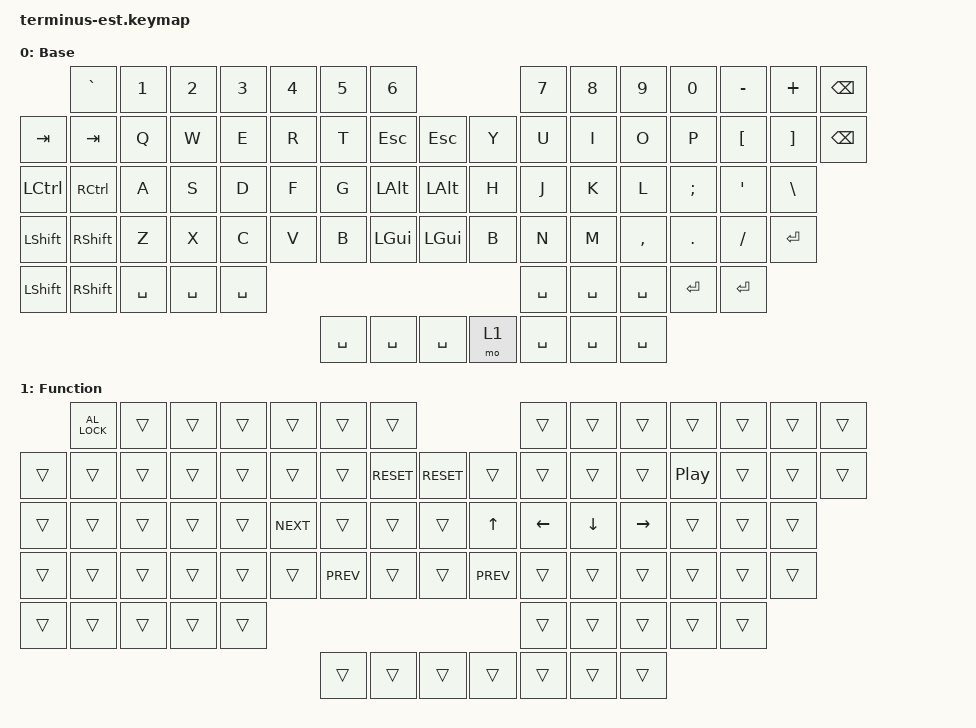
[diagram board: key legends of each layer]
#include <behaviors.dtsi>
#include <dt-bindings/zmk/keys.h>

/ {
    keymap {
        compatible = "zmk,keymap";

        default_layer {
            display-name = "Base";
            bindings = <
            //  COL0      COL1      COL2      COL3      COL4      COL5      COL6      COL7      COL8      COL9      COL10     COL11     COL12     COL13     COL14     COL15     COL16     COL17     COL18     COL19     COL20     COL21     // ROW
                          &kp GRAVE &kp N1    &kp N2    &kp N3    &kp N4    &kp N5    &kp N6                                                                          &kp N7    &kp N8    &kp N9    &kp N0    &kp MINUS &kp PLUS  &kp BSPC  // ROW0
                &kp TAB   &kp TAB   &kp Q     &kp W     &kp E     &kp R     &kp T                         &kp ESC                       &kp ESC             &kp Y     &kp U     &kp I     &kp O     &kp P     &kp LBKT  &kp RBKT  &kp BSPC  // ROW1
                &kp LCTL  &kp RCTL  &kp A     &kp S     &kp D     &kp F     &kp G                         &kp LALT                      &kp LALT            &kp H     &kp J     &kp K     &kp L     &kp SEMI  &kp SQT   &kp BSLH            // ROW2
                &kp LSHFT &kp RSHFT &kp Z     &kp X     &kp C     &kp V     &kp B                         &kp LGUI                      &kp LGUI            &kp B     &kp N     &kp M     &kp COMMA &kp DOT   &kp FSLH  &kp RET             // ROW3
                &kp LSHFT &kp RSHFT                               &kp SPACE &kp SPACE &kp SPACE                                                   &kp SPACE &kp SPACE &kp SPACE                     &kp RET   &kp RET                       // ROW4
                                                                            &kp SPACE &kp SPACE &kp SPACE &mo 1                                   &kp SPACE &kp SPACE &kp SPACE                                                           // ROW5
            >;
        };

        fn_layer {
            display-name = "Function";
            bindings = <
            //  COL0      COL1      COL2      COL3      COL4      COL5      COL6      COL7      COL8      COL9      COL10     COL11     COL12     COL13     COL14     COL15     COL16     COL17     COL18     COL19     COL20     COL21     // ROW
                   &kp C_AL_LOCK    &trans    &trans    &trans    &trans    &trans    &trans                                                                &trans    &trans    &trans    &trans    &trans    &trans    &trans              // ROW0
                &trans    &trans    &trans    &trans    &trans    &trans    &trans                      &kp C_RESET                   &kp C_RESET           &trans    &trans    &trans    &trans    &kp C_PP  &trans    &trans    &trans    // ROW1
                &trans    &trans    &trans    &trans    &trans   &kp C_NEXT &trans                        &trans                        &trans              &kp UP    &kp LEFT  &kp DOWN  &kp RIGHT &trans    &trans    &trans              // ROW2
                &trans    &trans    &trans    &trans    &trans    &trans   &kp C_PREV                     &trans                        &trans             &kp C_PREV &trans    &trans    &trans    &trans    &trans    &trans              // ROW3
                &trans    &trans                                  &trans    &trans    &trans                                                      &trans    &trans    &trans                                  &trans    &trans              // ROW4
                                                                            &trans    &trans    &trans    &trans                                  &trans    &trans    &trans                                                                // ROW5
            >;
        };
    };
};
